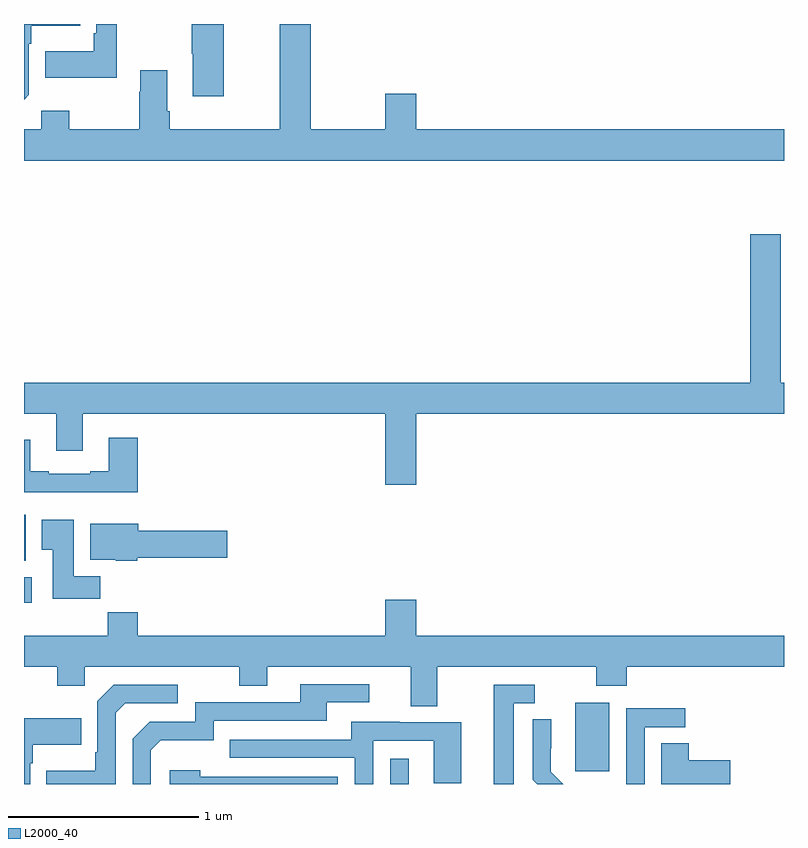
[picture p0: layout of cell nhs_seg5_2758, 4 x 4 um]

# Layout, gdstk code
import gdstk
lib = gdstk.Library(unit=1e-6, precision=1e-09)
def R(c, l, rs):  # rectangles x0, y0, x1, y1
    for r in rs: c.add(gdstk.rectangle(r[:2], r[2:], *l))
def P(c, l, *ps):  # polygons
    for p in ps: c.add(gdstk.Polygon(p, *l))
L2000_40 = (2000, 40)

nhs_seg5_2758 = lib.new_cell('nhs_seg5_2758')
R(nhs_seg5_2758, L2000_40, [(272.928,866.799,273.025,866.932), (273.902,866.865,274.081,867.226), (271,867.752,271.042,867.886), (271,867.974,271.009,868.216)])
P(nhs_seg5_2758, L2000_40, [(275,870.244),(273.064,870.244),(273.064,870.433),(272.9,870.433),(272.9,870.244),(272.509,870.244),(272.509,870.799),(272.345,870.799),(272.345,870.244),(271.766,870.244),(271.766,870.34),(271.753,870.34),(271.753,870.556),(271.613,870.556),(271.613,870.443),(271.606,870.443),(271.606,870.244),(271.239,870.244),(271.239,870.343),(271.092,870.343),(271.092,870.244),(271,870.244),(271,870.08),(275,870.08)],
  [(271.026,870.426),(271.026,870.695),(271.039,870.695),(271.039,870.791),(271.295,870.791),(271.295,870.799),(271,870.799),(271,870.4)],
  [(272.052,870.799),(271.882,870.799),(271.882,870.643),(271.889,870.643),(271.889,870.42),(272.052,870.42)],
  [(271.489,870.799),(271.38,870.799),(271.38,870.751),(271.368,870.751),(271.368,870.655),(271.111,870.655),(271.111,870.515),(271.489,870.515)],
  [(273.064,868.748),(275,868.748),(275,868.912),(274.983,868.912),(274.983,869.692),(274.823,869.692),(274.823,868.912),(271,868.912),(271,868.748),(271.169,868.748),(271.169,868.554),(271.309,868.554),(271.309,868.748),(272.9,868.748),(272.9,868.374),(273.064,868.374)],
  [(271.598,868.621),(271.445,868.621),(271.445,868.444),(271.349,868.444),(271.349,868.431),(271.129,868.431),(271.129,868.444),(271.033,868.444),(271.033,868.612),(271,868.612),(271,868.334),(271.598,868.334)],
  [(271.4,867.892),(271.261,867.892),(271.261,868.189),(271.094,868.189),(271.094,868.033),(271.151,868.033),(271.151,867.774),(271.4,867.774)],
  [(271.596,867.991),(272.071,867.991),(272.071,868.133),(271.6,868.133),(271.6,868.168),(271.349,868.168),(271.349,867.98),(271.482,867.98),(271.482,867.974),(271.596,867.974)],
  [(273.175,867.416),(274.012,867.416),(274.012,867.317),(274.172,867.317),(274.172,867.416),(275,867.416),(275,867.58),(273.064,867.58),(273.064,867.769),(272.9,867.769),(272.9,867.58),(271.598,867.58),(271.598,867.704),(271.441,867.704),(271.441,867.58),(271,867.58),(271,867.416),(271.174,867.416),(271.174,867.317),(271.32,867.317),(271.32,867.416),(272.134,867.416),(272.134,867.317),(272.281,867.317),(272.281,867.416),(273.035,867.416),(273.035,867.208),(273.175,867.208)],
  [(271.668,866.976),(271.721,867.029),(271.998,867.029),(271.998,867.132),(272.593,867.132),(272.593,867.228),(272.818,867.228),(272.818,867.324),(272.453,867.324),(272.453,867.228),(271.902,867.228),(271.902,867.126),(271.662,867.126),(271.572,867.036),(271.572,866.799),(271.668,866.799)],
  [(271.482,867.174),(271.533,867.225),(271.81,867.225),(271.81,867.321),(271.473,867.321),(271.386,867.234),(271.386,866.965),(271.374,866.965),(271.374,866.869),(271.117,866.869),(271.117,866.799),(271.482,866.799)],
  [(273.577,867.225),(273.688,867.225),(273.688,867.321),(273.473,867.321),(273.473,866.799),(273.577,866.799)],
  [(274.266,867.099),(274.48,867.099),(274.48,867.198),(274.17,867.198),(274.17,866.799),(274.266,866.799)],
  [(271.032,866.909),(271.045,866.909),(271.045,867.005),(271.301,867.005),(271.301,867.145),(271,867.145),(271,866.799),(271.032,866.799)],
  [(273.773,866.864),(273.773,866.986),(273.774,866.986),(273.774,867.14),(273.678,867.14),(273.678,866.822),(273.701,866.799),(273.837,866.799)],
  [(272.838,867.027),(273.156,867.027),(273.156,866.803),(273.301,866.803),(273.301,867.123),(272.977,867.123),(272.977,867.127),(272.723,867.127),(272.723,867.033),(272.083,867.033),(272.083,866.937),(272.742,866.937),(272.742,866.799),(272.838,866.799)],
  [(274.717,866.924),(274.499,866.924),(274.499,867.014),(274.355,867.014),(274.355,866.799),(274.717,866.799)],
  [(272.652,866.838),(271.928,866.838),(271.928,866.872),(271.767,866.872),(271.767,866.799),(272.652,866.799)])

lib.write_gds('nhs_seg5_2758.gds')
